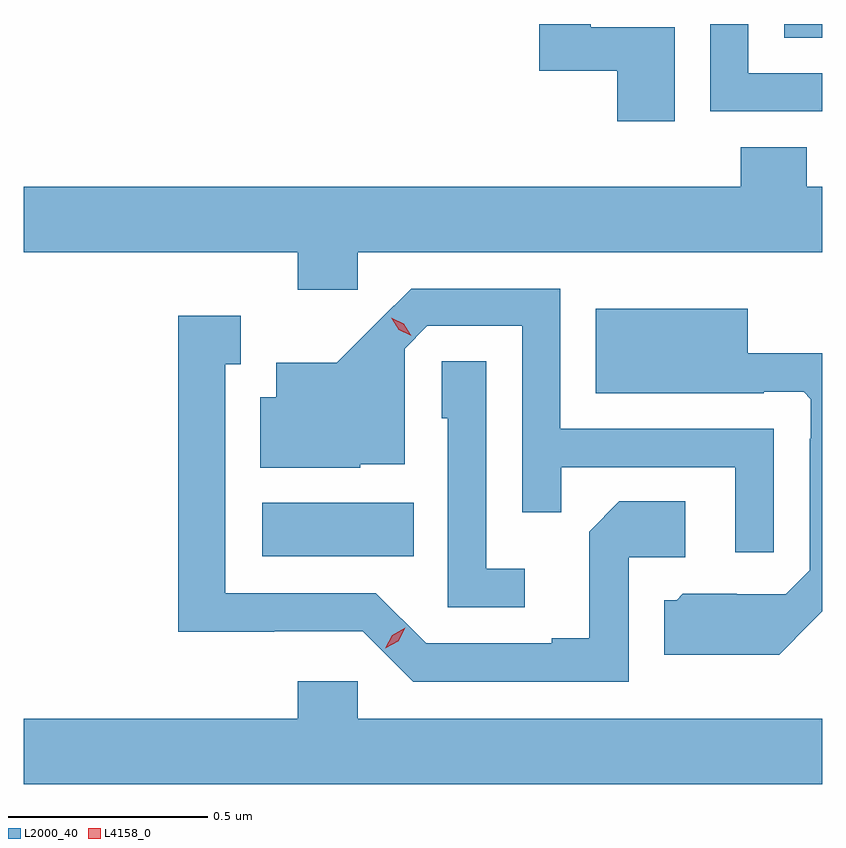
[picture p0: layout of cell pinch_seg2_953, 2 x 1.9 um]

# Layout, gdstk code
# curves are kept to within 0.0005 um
import gdstk
lib = gdstk.Library(unit=1e-6, precision=1e-09)
def R(c, l, rs):  # rectangles x0, y0, x1, y1
    for r in rs: c.add(gdstk.rectangle(r[:2], r[2:], *l))
def P(c, l, *ps):  # polygons
    for p in ps: c.add(gdstk.Polygon(p, *l))
L2000_40 = (2000, 40)
L4158_0 = (4158, 0)

pinch_seg2_953 = lib.new_cell('pinch_seg2_953')
R(pinch_seg2_953, L2000_40, [(338.73,625.562,339.11,625.696), (340.037,626.861,340.133,626.895)])
P(pinch_seg2_953, L2000_40, [(339.763,626.887),(339.553,626.887),(339.553,626.895),(339.424,626.895),(339.424,626.778),(339.62,626.778),(339.62,626.652),(339.763,626.652)],
  [(340.133,626.772),(339.948,626.772),(339.948,626.895),(339.852,626.895),(339.852,626.676),(340.133,626.676)],
  [(338.97,626.324),(340.133,626.324),(340.133,626.488),(340.094,626.488),(340.094,626.587),(339.929,626.587),(339.929,626.488),(338.133,626.488),(338.133,626.324),(338.819,626.324),(338.819,626.229),(338.97,626.229)],
  [(340.011,625.881),(339.477,625.881),(339.477,626.232),(339.104,626.232),(338.917,626.047),(338.765,626.047),(338.765,625.96),(338.726,625.96),(338.726,625.784),(338.976,625.784),(338.976,625.793),(339.087,625.793),(339.087,626.082),(339.144,626.139),(339.381,626.139),(339.381,625.672),(339.479,625.672),(339.479,625.785),(339.915,625.785),(339.915,625.572),(340.011,625.572)],
  [(340.105,625.397),(340.133,625.425),(340.133,626.071),(339.946,626.071),(339.946,626.182),(339.566,626.182),(339.566,625.97),(339.986,625.97),(339.986,625.974),(340.086,625.974),(340.104,625.956),(340.104,625.856),(340.101,625.856),(340.101,625.527),(340.041,625.467),(339.918,625.467),(339.918,625.468),(339.784,625.468),(339.768,625.452),(339.737,625.452),(339.737,625.316),(340.025,625.316)],
  [(339.648,625.56),(339.79,625.56),(339.79,625.7),(339.625,625.7),(339.549,625.624),(339.549,625.357),(339.455,625.357),(339.455,625.344),(339.141,625.344),(339.015,625.47),(338.638,625.47),(338.638,626.043),(338.677,626.043),(338.677,626.164),(338.52,626.164),(338.52,625.373),(338.76,625.373),(338.76,625.374),(338.982,625.374),(339.108,625.248),(339.648,625.248)],
  [(339.388,625.531),(339.291,625.531),(339.291,626.051),(339.18,626.051),(339.18,625.908),(339.195,625.908),(339.195,625.434),(339.388,625.434)],
  [(340.133,625.156),(338.97,625.156),(338.97,625.249),(338.819,625.249),(338.819,625.156),(338.133,625.156),(338.133,624.992),(340.133,624.992)])
P(pinch_seg2_953, L4158_0, [(339.103,626.114),(339.072,626.129),(339.054,626.159),(339.054,626.159),(339.054,626.159),(339.085,626.144),(339.103,626.114),(339.103,626.114)],
  [(339.038,625.332),(339.038,625.332),(339.056,625.364),(339.088,625.383),(339.089,625.383),(339.089,625.383),(339.071,625.35),(339.039,625.332)])

lib.write_gds('pinch_seg2_953.gds')
